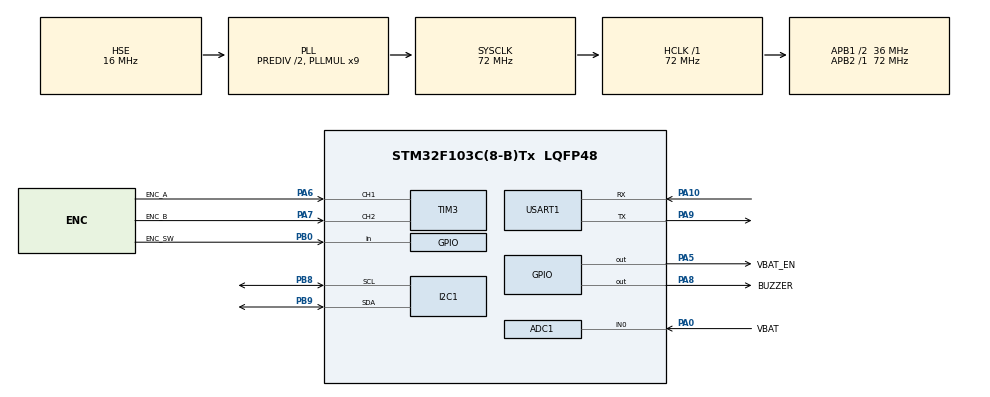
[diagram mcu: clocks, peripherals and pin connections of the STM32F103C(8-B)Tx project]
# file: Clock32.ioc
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ADC1.Channel-0\#ChannelRegularConversion=ADC_CHANNEL_0
ADC1.Channel-1\#ChannelRegularConversion=ADC_CHANNEL_0
ADC1.Channel-2\#ChannelRegularConversion=ADC_CHANNEL_0
ADC1.Channel-3\#ChannelRegularConversion=ADC_CHANNEL_0
ADC1.DiscontinuousConvMode=ENABLE
ADC1.NbrOfConversion=4
ADC1.NbrOfConversionFlag=1
ADC1.NbrOfDiscConversion=4
ADC1.Rank-0\#ChannelRegularConversion=1
ADC1.Rank-1\#ChannelRegularConversion=2
ADC1.Rank-2\#ChannelRegularConversion=3
ADC1.Rank-3\#ChannelRegularConversion=4
ADC1.SamplingTime-0\#ChannelRegularConversion=ADC_SAMPLETIME_239CYCLES_5
ADC1.SamplingTime-1\#ChannelRegularConversion=ADC_SAMPLETIME_239CYCLES_5
ADC1.SamplingTime-2\#ChannelRegularConversion=ADC_SAMPLETIME_239CYCLES_5
ADC1.SamplingTime-3\#ChannelRegularConversion=ADC_SAMPLETIME_239CYCLES_5
ADC1.master=1
Dma.ADC1.0.Direction=DMA_PERIPH_TO_MEMORY
Dma.ADC1.0.Instance=DMA1_Channel1
Dma.ADC1.0.MemDataAlignment=DMA_MDATAALIGN_HALFWORD
Dma.ADC1.0.MemInc=DMA_MINC_ENABLE
Dma.ADC1.0.Mode=DMA_CIRCULAR
Dma.ADC1.0.PeriphDataAlignment=DMA_PDATAALIGN_HALFWORD
Dma.ADC1.0.PeriphInc=DMA_PINC_DISABLE
Dma.ADC1.0.Priority=DMA_PRIORITY_LOW
Dma.Request0=ADC1
FREERTOS.HEAP_NUMBER=4
FREERTOS.Mutexes01=app_mutex,Dynamic,NULL,Available
FREERTOS.Queues01=app_queue,16,EncoderEventMsg_t,0,Dynamic,NULL,NULL
FREERTOS.Tasks01=userInput,24,160,user_input_task,Default,NULL,Dynamic,NULL,NULL;displayDraw,8,192,display_draw_task,Default,NULL,Dynamic,NULL,NULL;appTask,16,160,app_task,Default,NULL,Dynamic,NULL,NULL;uartTask,8,256,uart_task,Default,NULL,Dynamic,NULL,NULL
FREERTOS.configTOTAL_HEAP_SIZE=4096
I2C1.I2C_Mode=I2C_Fast
Mcu.Family=STM32F1
Mcu.Name=STM32F103C(8-B)Tx
Mcu.Package=LQFP48
NVIC.DMA1_Channel1_IRQn=true\:5\:0\:false\:false\:true\:true\:false\:true\:true
NVIC.PriorityGroup=NVIC_PRIORITYGROUP_4
NVIC.TIM4_IRQn=true\:15\:0\:false\:false\:true\:false\:false\:true\:true
NVIC.TimeBase=TIM4_IRQn
NVIC.TimeBaseIP=TIM4
NVIC.USART1_IRQn=true\:5\:0\:false\:false\:true\:true\:true\:true\:true
PA0-WKUP.GPIO_Label=VBAT
PA0-WKUP.Signal=ADCx_IN0
PA10.Mode=Asynchronous
PA10.Signal=USART1_RX
PA13.Mode=Serial_Wire
PA13.Signal=SYS_JTMS-SWDIO
PA14.Mode=Serial_Wire
PA14.Signal=SYS_JTCK-SWCLK
PA5.GPIO_Label=VBAT_EN
PA5.Signal=GPIO_Output
PA6.GPIO_Label=ENC_A
PA6.Signal=S_TIM3_CH1
PA7.GPIO_Label=ENC_B
PA7.Signal=S_TIM3_CH2
PA8.GPIO_Label=BUZZER
PA8.Signal=GPIO_Output
PA9.Mode=Asynchronous
PA9.Signal=USART1_TX
PB0.GPIO_Label=ENC_SW
PB0.GPIO_PuPd=GPIO_PULLUP
PB0.Signal=GPIO_Input
PB8.Mode=I2C
PB8.Signal=I2C1_SCL
PB9.Mode=I2C
PB9.Signal=I2C1_SDA
PC14-OSC32_IN.Mode=LSE-External-Oscillator
PC14-OSC32_IN.Signal=RCC_OSC32_IN
PC15-OSC32_OUT.Mode=LSE-External-Oscillator
PC15-OSC32_OUT.Signal=RCC_OSC32_OUT
PD0-OSC_IN.Mode=HSE-External-Oscillator
PD0-OSC_IN.Signal=RCC_OSC_IN
PD1-OSC_OUT.Mode=HSE-External-Oscillator
PD1-OSC_OUT.Signal=RCC_OSC_OUT
ProjectManager.HeapSize=0x200
ProjectManager.StackSize=0x400
ProjectManager.TargetToolchain=CMake
RCC.ADCPresc=RCC_ADCPCLK2_DIV6
RCC.AHBFreq_Value=72000000
RCC.APB1CLKDivider=RCC_HCLK_DIV2
RCC.APB1Freq_Value=36000000
RCC.APB1TimFreq_Value=72000000
RCC.APB2Freq_Value=72000000
RCC.APB2TimFreq_Value=72000000
RCC.HCLKFreq_Value=72000000
RCC.HSEDivPLL=RCC_HSE_PREDIV_DIV2
RCC.HSE_VALUE=16000000
RCC.PLLMUL=RCC_PLL_MUL9
RCC.PLLSourceVirtual=RCC_PLLSOURCE_HSE
RCC.PREFETCH_ENABLE=1
RCC.RTCClockSelection=RCC_RTCCLKSOURCE_LSE
RCC.SYSCLKFreq_VALUE=72000000
RCC.SYSCLKSource=RCC_SYSCLKSOURCE_PLLCLK
RCC.USBFreq_Value=48000000
RCC.USBPrescaler=RCC_USBCLKSOURCE_PLL_DIV1_5
RTC.AutoPrediv=RTC_AUTO_1_SECOND
RTC.Format=RTC_FORMAT_BCD
SH.ADCx_IN0.0=ADC1_IN0,IN0
SH.S_TIM3_CH1.0=TIM3_CH1,Encoder_Interface
SH.S_TIM3_CH2.0=TIM3_CH2,Encoder_Interface
TIM3.IC1Filter=4
TIM3.IC2Filter=4
USART1.VirtualMode=VM_ASYNC
VP_FREERTOS_VS_CMSIS_V2.Mode=CMSIS_V2
VP_RTC_VS_RTC_Activate.Mode=RTC_Enabled
VP_RTC_VS_RTC_Calendar.Mode=RTC_Calendar
VP_SYS_VS_tim4.Mode=TIM4
board=custom

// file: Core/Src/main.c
/* USER CODE BEGIN Header */
/**
  ******************************************************************************
  * @file           : main.c
  * @brief          : Main program body
  ******************************************************************************
  * @attention
  *
  * Copyright (c) 2026 STMicroelectronics.
  * All rights reserved.
  *
  * This software is licensed under terms that can be found in the LICENSE file
  * in the root directory of this software component.
  * If no LICENSE file comes with this software, it is provided AS-IS.
  *
  ******************************************************************************
  */
/* USER CODE END Header */
#include "main.h"
#include "cmsis_os.h"
#include "adc.h"
#include "dma.h"
#include "i2c.h"
#include "rtc.h"
#include "tim.h"
#include "usart.h"
#include "gpio.h"

/* USER CODE BEGIN Includes */
#include "display_draw.h"
#include "battery.h"
/* USER CODE END Includes */

void SystemClock_Config(void);
void MX_FREERTOS_Init(void);

int main(void)
{

  /* MCU Configuration--------------------------------------------------------*/

  /* Reset of all peripherals, Initializes the Flash interface and the Systick. */
  HAL_Init();

  /* Configure the system clock */
  SystemClock_Config();

  /* Initialize all configured peripherals */
  MX_GPIO_Init();
  MX_DMA_Init();
  MX_ADC1_Init();
  MX_I2C1_Init();
  MX_USART1_UART_Init();
  MX_TIM3_Init();
  MX_RTC_Init();
  /* USER CODE BEGIN 2 */
  display_init();
  battery_init();   /* calibrate ADC1, arm the battery DMA */
  /* USER CODE END 2 */

  /* Init scheduler */
  osKernelInitialize();  /* Call init function for freertos objects (in cmsis_os2.c) */
  MX_FREERTOS_Init();

  /* Start scheduler */
  osKernelStart();

  /* We should never get here as control is now taken by the scheduler */

  /* Infinite loop */
  while (1)
  {

  }
}

void SystemClock_Config(void)
{
  RCC_OscInitTypeDef RCC_OscInitStruct = {0};
  RCC_ClkInitTypeDef RCC_ClkInitStruct = {0};
  RCC_PeriphCLKInitTypeDef PeriphClkInit = {0};

  /** Initializes the RCC Oscillators according to the specified parameters
  * in the RCC_OscInitTypeDef structure.
  */
  RCC_OscInitStruct.OscillatorType = RCC_OSCILLATORTYPE_HSE|RCC_OSCILLATORTYPE_LSE;
  RCC_OscInitStruct.HSEState = RCC_HSE_ON;
  RCC_OscInitStruct.HSEPredivValue = RCC_HSE_PREDIV_DIV2;
  RCC_OscInitStruct.LSEState = RCC_LSE_ON;
  RCC_OscInitStruct.HSIState = RCC_HSI_ON;
  RCC_OscInitStruct.PLL.PLLState = RCC_PLL_ON;
  RCC_OscInitStruct.PLL.PLLSource = RCC_PLLSOURCE_HSE;
  RCC_OscInitStruct.PLL.PLLMUL = RCC_PLL_MUL9;
  if (HAL_RCC_OscConfig(&RCC_OscInitStruct) != HAL_OK)
  {
    Error_Handler();
  }

  /** Initializes the CPU, AHB and APB buses clocks
  */
  RCC_ClkInitStruct.ClockType = RCC_CLOCKTYPE_HCLK|RCC_CLOCKTYPE_SYSCLK
                              |RCC_CLOCKTYPE_PCLK1|RCC_CLOCKTYPE_PCLK2;
  RCC_ClkInitStruct.SYSCLKSource = RCC_SYSCLKSOURCE_PLLCLK;
  RCC_ClkInitStruct.AHBCLKDivider = RCC_SYSCLK_DIV1;
  RCC_ClkInitStruct.APB1CLKDivider = RCC_HCLK_DIV2;
  RCC_ClkInitStruct.APB2CLKDivider = RCC_HCLK_DIV1;

  if (HAL_RCC_ClockConfig(&RCC_ClkInitStruct, FLASH_LATENCY_2) != HAL_OK)
  {
    Error_Handler();
  }
  PeriphClkInit.PeriphClockSelection = RCC_PERIPHCLK_RTC|RCC_PERIPHCLK_ADC;
  PeriphClkInit.RTCClockSelection = RCC_RTCCLKSOURCE_LSE;
  PeriphClkInit.AdcClockSelection = RCC_ADCPCLK2_DIV6;
  if (HAL_RCCEx_PeriphCLKConfig(&PeriphClkInit) != HAL_OK)
  {
    Error_Handler();
  }
}

void HAL_TIM_PeriodElapsedCallback(TIM_HandleTypeDef *htim)
{
  if (htim->Instance == TIM4)
  {
    HAL_IncTick();
  }
}

void Error_Handler(void)
{
  __disable_irq();
  while (1)
  {
  }
}

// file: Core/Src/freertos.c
/* USER CODE BEGIN Header */
/**
  ******************************************************************************
  * File Name          : freertos.c
  * Description        : Code for freertos applications
  ******************************************************************************
  * @attention
  *
  * Copyright (c) 2026 STMicroelectronics.
  * All rights reserved.
  *
  * This software is licensed under terms that can be found in the LICENSE file
  * in the root directory of this software component.
  * If no LICENSE file comes with this software, it is provided AS-IS.
  *
  ******************************************************************************
  */
/* USER CODE END Header */

#include "FreeRTOS.h"
#include "task.h"
#include "main.h"
#include "cmsis_os.h"

/* USER CODE BEGIN Includes */
#include "hmi.h"
#include "usart.h"
#include "display_draw.h"
#include "app.h"
#include "uart1.h"
#include <stdio.h>
/* USER CODE END Includes */

/* Definitions for userInput */
osThreadId_t userInputHandle;
const osThreadAttr_t userInput_attributes = {
  .name = "userInput",
  .stack_size = 160 * 4,
  .priority = (osPriority_t) osPriorityNormal,
};
/* Definitions for displayDraw */
osThreadId_t displayDrawHandle;
const osThreadAttr_t displayDraw_attributes = {
  .name = "displayDraw",
  .stack_size = 192 * 4,
  .priority = (osPriority_t) osPriorityLow,
};
/* Definitions for appTask */
osThreadId_t appTaskHandle;
const osThreadAttr_t appTask_attributes = {
  .name = "appTask",
  .stack_size = 160 * 4,
  .priority = (osPriority_t) osPriorityBelowNormal,
};
/* Definitions for uartTask */
osThreadId_t uartTaskHandle;
const osThreadAttr_t uartTask_attributes = {
  .name = "uartTask",
  .stack_size = 256 * 4,
  .priority = (osPriority_t) osPriorityLow,
};
/* Definitions for app_queue */
osMessageQueueId_t app_queueHandle;
const osMessageQueueAttr_t app_queue_attributes = {
  .name = "app_queue"
};
/* Definitions for app_mutex */
osMutexId_t app_mutexHandle;
const osMutexAttr_t app_mutex_attributes = {
  .name = "app_mutex"
};

/* USER CODE BEGIN FunctionPrototypes */
/* Debug helpers: print encoder events over UART1 (115200 baud). */
static const char *enc_event_str(EncoderEvent_t e)
{
  switch (e)
  {
    case EV_ENC_ROTATED:    return "ROTATED";
    case EV_ENC_PRESS:      return "PRESS";
    case EV_ENC_LONG_PRESS: return "LONG_PRESS";
    default:                return "NONE";
  }
}

static void enc_debug_print(const EncoderEventMsg_t *msg)
{
  char buf[48];
  int n = snprintf(buf, sizeof(buf), "[ENC] %-11s detent=%d\r\n",
                   enc_event_str(msg->event), (int)msg->value);
  if (n > 0)
  {
    HAL_UART_Transmit(&huart1, (uint8_t *)buf, (uint16_t)n, 100u);
  }
}

/* FreeRTOS stack-overflow hook: report which task overflowed, then stop.
 * Keeps a stack overflow from silently corrupting the heap. */
void vApplicationStackOverflowHook(TaskHandle_t xTask, char *pcTaskName)
{
  char buf[64];
  int n;
  (void)xTask;

  n = snprintf(buf, sizeof(buf), "\r\n[FATAL] stack overflow in task '%s'\r\n",
               pcTaskName != NULL ? pcTaskName : "?");
  if (n > 0)
  {
    HAL_UART_Transmit(&huart1, (uint8_t *)buf, (uint16_t)n, 200u);
  }
  taskDISABLE_INTERRUPTS();
  for( ;; )
  {
  }
}
/* USER CODE END FunctionPrototypes */

void user_input_task(void *argument);
void display_draw_task(void *argument);
void app_task(void *argument);
void uart_task(void *argument);

void MX_FREERTOS_Init(void); /* (MISRA C 2004 rule 8.1) */

void MX_FREERTOS_Init(void) {
  /* Create the mutex(es) */
  /* creation of app_mutex */
  app_mutexHandle = osMutexNew(&app_mutex_attributes);

  /* Create the queue(s) */
  /* creation of app_queue */
  app_queueHandle = osMessageQueueNew (16, sizeof(EncoderEventMsg_t), &app_queue_attributes);

  /* Create the thread(s) */
  /* creation of userInput */
  userInputHandle = osThreadNew(user_input_task, NULL, &userInput_attributes);

  /* creation of displayDraw */
  displayDrawHandle = osThreadNew(display_draw_task, NULL, &displayDraw_attributes);

  /* creation of appTask */
  appTaskHandle = osThreadNew(app_task, NULL, &appTask_attributes);

  /* creation of uartTask */
  uartTaskHandle = osThreadNew(uart_task, NULL, &uartTask_attributes);

  /* USER CODE BEGIN RTOS_THREADS */
  /* add threads, ... */
  app_init(app_queueHandle, app_mutexHandle);
  /* USER CODE END RTOS_THREADS */

}

void user_input_task(void *argument)
{
  /* USER CODE BEGIN user_input_task */
  /* Prototyping feedback: a short buzzer "click" on every input, so the
   * encoder rotation/press is audible on the bench. Remove once the real
   * app consumes the events. The beep is non-blocking (PB1 is cleared on a
   * later poll once beep_until has passed). */
  uint32_t beep_until = 0u;

  /* Infinite loop */
  for(;;)
  {
    EncoderEventMsg_t ev = encoder_poll();

    /* Debug print of every encoder event over UART1, then hand it to app. */
    if (ev.event != EV_ENC_NONE)
    {
      /* enc_debug_print(&ev); */   /* disabled encoder debug */
      osMessageQueuePut(app_queueHandle, &ev, 0u, 0u);
    }

    /* Timer alarm: 200 ms on / 200 ms off until acknowledged. */
    if (app_alarm_active())
    {
        if (((HAL_GetTick() / 200u) % 2u) != 0u){
            HAL_GPIO_WritePin(BUZZER_GPIO_Port, BUZZER_Pin, GPIO_PIN_SET);
        }
        else{
            HAL_GPIO_WritePin(BUZZER_GPIO_Port, BUZZER_Pin, GPIO_PIN_RESET);
        }
    }
    /* Turn the buzzer off when the beep time has elapsed. */
    else if ((int32_t)(beep_until - HAL_GetTick()) <= 0){
        HAL_GPIO_WritePin(BUZZER_GPIO_Port, BUZZER_Pin, GPIO_PIN_RESET);
    }

    switch (ev.event)
    {
      case EV_ENC_ROTATED:
        /* TODO: app handling for rotation (ev.value = detents, + CW / - CCW) */
        HAL_GPIO_WritePin(BUZZER_GPIO_Port, BUZZER_Pin, GPIO_PIN_SET);
        beep_until = HAL_GetTick() + 30u;
        break;
      case EV_ENC_PRESS:
        /* TODO: app handling for encoder button press (ENTER) */
        HAL_GPIO_WritePin(BUZZER_GPIO_Port, BUZZER_Pin, GPIO_PIN_SET);
        beep_until = HAL_GetTick() + 80u; /* "confirm" beep */
        break;
      case EV_ENC_LONG_PRESS:
        /* TODO: app handling for encoder button long press */
        HAL_GPIO_WritePin(BUZZER_GPIO_Port, BUZZER_Pin, GPIO_PIN_SET);
        beep_until = HAL_GetTick() + 150u; /* longer beep */
        break;
      default:
        break;
    }

    osDelay(10); /* poll at ~100 Hz */
  }
  /* USER CODE END user_input_task */
}

void display_draw_task(void *argument)
{
  /* USER CODE BEGIN display_draw_task */
  /* Infinite loop */
  for(;;)
  {
    app_render(); /* snapshot state and draw the focused face */
    osDelay(100); /* update display at 10 Hz */
  }
  /* USER CODE END display_draw_task */
}

void app_task(void *argument)
{
  /* USER CODE BEGIN app_task */
  /* Infinite loop */
    app_run(argument);
  /* USER CODE END app_task */
}

void uart_task(void *argument)
{
  /* USER CODE BEGIN uart_task */
  /* Interactive UART1 console (read/set the internal RTC). */
  (void)argument;
  uart_console_run();
  /* USER CODE END uart_task */
}
